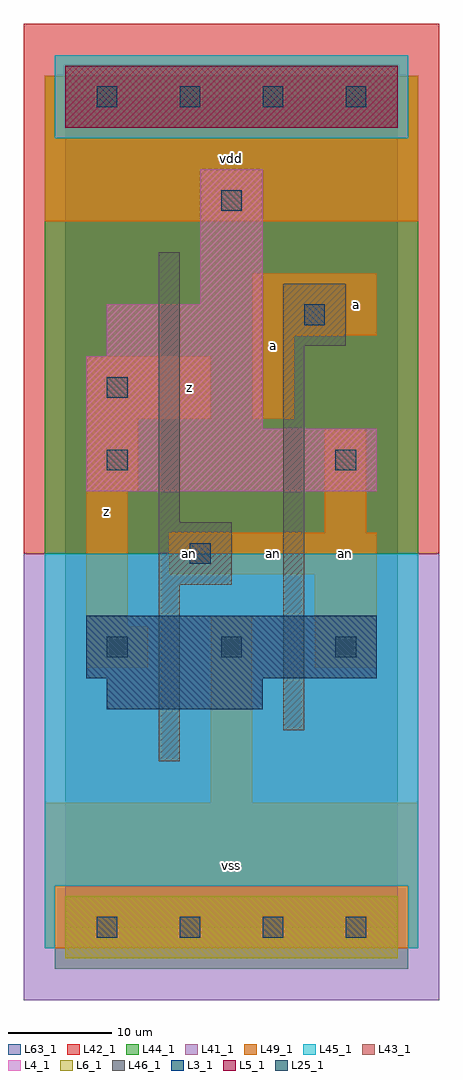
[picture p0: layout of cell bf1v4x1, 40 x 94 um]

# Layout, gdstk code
import gdstk
lib = gdstk.Library(unit=1e-6, precision=1e-09)
def R(c, l, rs):  # rectangles x0, y0, x1, y1
    for r in rs: c.add(gdstk.rectangle(r[:2], r[2:], *l))
def A(c, l, x, y, w, h, nx, ny, dx, dy):  # array of equal rectangles
    R(c, l, [(x+i*dx, y+j*dy, x+i*dx+w, y+j*dy+h) for i in range(nx) for j in range(ny)])
L3_1 = (3, 1)
L4_1 = (4, 1)
L5_1 = (5, 1)
L6_1 = (6, 1)
L25_1 = (25, 1)
L41_1 = (41, 1)
L42_1 = (42, 1)
L43_1 = (43, 1)
L44_1 = (44, 1)
L45_1 = (45, 1)
L46_1 = (46, 1)
L49_1 = (49, 1)
L63_1 = (63, 1)

bf1v4x1 = lib.new_cell('bf1v4x1')
R(bf1v4x1, L3_1, [(4,21,19,24), (2,24,30,30)])
R(bf1v4x1, L4_1, [(2,42,30,48), (2,48,19,55), (4,55,19,60), (13,60,19,73)])
R(bf1v4x1, L5_1, [(0,77,32,83)])
R(bf1v4x1, L6_1, [(0,-3,32,3), (0,-3,32,3)])
A(bf1v4x1, L25_1, 3, -1, 2, 2, 4, 2, 8, 80)
A(bf1v4x1, L25_1, 4, 26, 2, 2, 3, 1, 11, 0)
R(bf1v4x1, L25_1, [(12,35,14,37), (4,44,6,46), (26,44,28,46), (4,51,6,53), (23,58,25,60), (15,69,17,71)])
R(bf1v4x1, L41_1, [(-4,-7,36,36)])
R(bf1v4x1, L42_1, [(-4,36,36,87)])
R(bf1v4x1, L43_1, [(0,-3,32,3), (4,21,19,24), (2,24,30,30), (2,42,30,48), (2,48,19,55), (4,55,19,60), (13,60,19,73), (0,77,32,83)])
R(bf1v4x1, L44_1, [(-1,-4,33,4), (-2,36,34,76), (-2,76,-1,82), (33,76,34,82)])
R(bf1v4x1, L45_1, [(-2,-2,-1,4), (33,-2,34,4), (-2,4,34,36), (-1,76,33,84)])
R(bf1v4x1, L46_1, [(9,16,11,33), (21,19,23,56), (9,33,16,39), (9,39,11,65), (21,56,27,62)])
R(bf1v4x1, L49_1, [(-2,-2,34,12), (14,12,18,30), (2,25,8,29), (24,25,30,34), (2,29,6,42), (10,34,30,38), (25,38,29,48), (2,42,7,49), (2,49,14,55), (18,49,22,57), (18,57,30,63), (-2,68,34,82)])
R(bf1v4x1, L63_1, [(0,0,32,80)])
bf1v4x1.add(gdstk.Label('an', (12,36), layer=49, texttype=1))
bf1v4x1.add(gdstk.Label('z', (4,40), layer=49, texttype=1))
bf1v4x1.add(gdstk.Label('z', (12,52), layer=49, texttype=1))
bf1v4x1.add(gdstk.Label('vss', (16,6), layer=49, texttype=1))
bf1v4x1.add(gdstk.Label('a', (20,56), layer=49, texttype=1))
bf1v4x1.add(gdstk.Label('vdd', (16,74), layer=49, texttype=1))
bf1v4x1.add(gdstk.Label('an', (20,36), layer=49, texttype=1))
bf1v4x1.add(gdstk.Label('an', (27,36), layer=49, texttype=1))
bf1v4x1.add(gdstk.Label('a', (28,60), layer=49, texttype=1))

lib.write_gds('bf1v4x1.gds')
